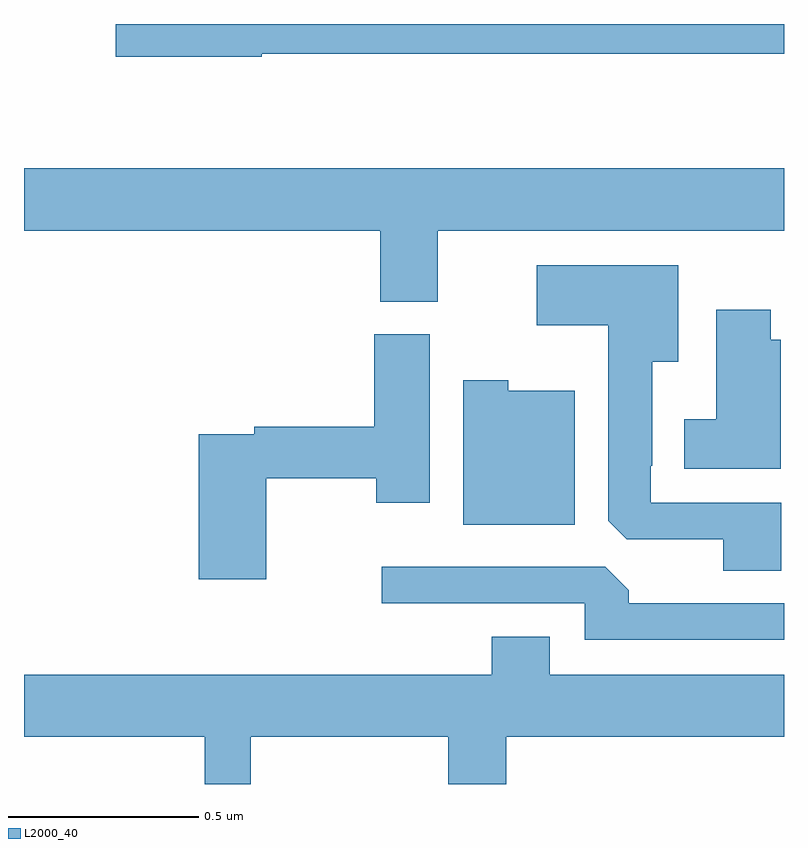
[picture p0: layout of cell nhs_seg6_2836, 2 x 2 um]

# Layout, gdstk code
import gdstk
lib = gdstk.Library(unit=1e-6, precision=1e-09)
def P(c, l, *ps):  # polygons
    for p in ps: c.add(gdstk.Polygon(p, *l))
L2000_40 = (2000, 40)

nhs_seg6_2836 = lib.new_cell('nhs_seg6_2836')
P(nhs_seg6_2836, L2000_40, [(148.626,994.422),(150,994.422),(150,994.5),(148.242,994.5),(148.242,994.414),(148.626,994.414)],
  [(149.089,993.956),(150,993.956),(150,994.12),(148,994.12),(148,993.956),(148.937,993.956),(148.937,993.769),(149.089,993.769)],
  [(149.993,993.24),(149.649,993.24),(149.649,993.337),(149.653,993.337),(149.653,993.611),(149.722,993.611),(149.722,993.865),(149.349,993.865),(149.349,993.707),(149.537,993.707),(149.537,993.193),(149.586,993.144),(149.84,993.144),(149.84,993.061),(149.993,993.061)],
  [(149.992,993.669),(149.965,993.669),(149.965,993.748),(149.822,993.748),(149.822,993.46),(149.738,993.46),(149.738,993.329),(149.992,993.329)],
  [(148.638,993.304),(148.927,993.304),(148.927,993.24),(149.068,993.24),(149.068,993.684),(148.922,993.684),(148.922,993.44),(148.606,993.44),(148.606,993.42),(148.46,993.42),(148.46,993.039),(148.638,993.039)],
  [(149.449,993.535),(149.274,993.535),(149.274,993.562),(149.156,993.562),(149.156,993.182),(149.449,993.182)],
  [(150,992.976),(149.591,992.976),(149.591,993.01),(149.529,993.072),(148.941,993.072),(148.941,992.976),(149.475,992.976),(149.475,992.88),(150,992.88)],
  [(148.597,992.624),(149.117,992.624),(149.117,992.5),(149.269,992.5),(149.269,992.624),(150,992.624),(150,992.788),(149.383,992.788),(149.383,992.887),(149.231,992.887),(149.231,992.788),(148,992.788),(148,992.624),(148.475,992.624),(148.475,992.5),(148.597,992.5)])

lib.write_gds('nhs_seg6_2836.gds')
